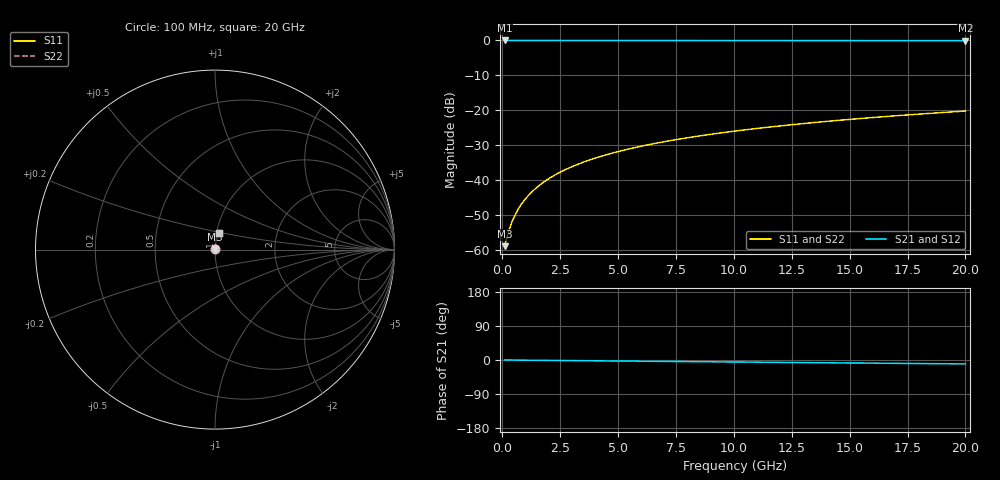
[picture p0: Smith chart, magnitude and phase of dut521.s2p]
! Touchstone file exported from HFSS 2026.1.0
!  File:  C:/ffzhzh/LocalFiles/Ansys_Project_Files/temp_train_BSMRDL_521_1783014560_4048.aedt
!  Generated:  01:50:42 AM Jul  3, 2026
!  Design:  BSMRDL
!  Project:  temp_train_BSMRDL_521_1783014560_4048
! Variables:
!  h_bsmrdl = 3.93um
!  h_ox = 20um
!  h_rdl = 5um
!  h_sub = 80um
!  h_tmrdl = 5um
!  h_tsv = 80um
!  h_via = 3um
!  l_bsmrdl = 135.3um
!  l_sub = 535.3um
!  l_tmrdl = 200um
!  m_sub = 200um
!  pitch = 31.45um
!  r_tsv = 6um
!  s_tmrdl = 10um
!  w_bsmrdl = 15.07um
!  w_sub = 500um
!  w_tmrdl = 12um
!  x_tsv_center1 = 206um
!  x_tsv_center2 = 356.37um
!  x_tsv_center3 = 568.37um
!  x_tsv_center4 = 718.74um
!  x_tsv_center5 = 930.74um
!  x_tsv_center6 = 1081.11um
# GHz S MA R 50.000000
! Terminal data exported
! Port[1] = BSM_RDL1_1_T1
! Port[2] = BSM_RDL1_1_T2
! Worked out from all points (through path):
!   200 points, 100 MHz to 20 GHz, reference 50 ohm
!   highest |S21| = -0.01 dB at 100 MHz (marker M1); lowest = -0.1 dB at 20 GHz (marker M2)
!   group delay of S21, straight-line fit = 1.44 ps
!   lowest |S11| = -58.9 dB at 100 MHz (marker M3), VSWR 1.00, Z = 50.1 + j0.0569 ohm
!   |S11| at or under -10 dB: start of sweep to end of sweep
!   |S22| runs from -58.9 to -20.2 dB; largest |S21 - S12| = 3.1e-15
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0.1  0.001131 30.1  0.999 -0.1  0.999 -0.1  0.001131 30.1
! Gamma 0 0 0 0
! Port Impedance 50 0 50 0
0.2  0.00151 47.9  0.999 -0.1  0.999 -0.1  0.00151 47.9
0.3  0.001961 57.6  0.999 -0.2  0.999 -0.2  0.001961 57.6
0.4  0.002433 63.4  0.9989 -0.2  0.9989 -0.2  0.002433 63.4
0.5  0.002913 67.4  0.9989 -0.3  0.9989 -0.3  0.002913 67.4
0.6  0.003399 70.3  0.9989 -0.3  0.9989 -0.3  0.003399 70.3
0.8  0.004382 74.2  0.9988 -0.4  0.9988 -0.4  0.004382 74.2
1  0.005378 76.7  0.9988 -0.5  0.9988 -0.5  0.005378 76.7
1.2  0.006382 78.4  0.9988 -0.6  0.9988 -0.6  0.006382 78.4
1.4  0.007392 79.7  0.9987 -0.8  0.9987 -0.8  0.007392 79.7
1.7  0.008913 80.9  0.9987 -0.9  0.9987 -0.9  0.008913 80.9
2.2  0.01146 82.2  0.9986 -1.2  0.9986 -1.2  0.01146 82.2
2.8  0.01451 82.9  0.9985 -1.5  0.9985 -1.5  0.01451 82.9
3.5  0.01805 83.3  0.9983 -1.9  0.9983 -1.9  0.01805 83.3
4.2  0.02158 83.4  0.9981 -2.2  0.9981 -2.2  0.02158 83.4
5  0.02559 83.3  0.9979 -2.7  0.9979 -2.7  0.02559 83.3
6.8  0.03451 82.8  0.9972 -3.6  0.9972 -3.6  0.03451 82.8
8.3  0.04185 82.2  0.9966 -4.4  0.9966 -4.4  0.04185 82.2
10.1  0.05057 81.5  0.9959 -5.3  0.9959 -5.3  0.05057 81.5
13.4  0.06637 80.1  0.9945 -7.0  0.9945 -7.0  0.06637 80.1
16.7  0.082 78.7  0.9929 -8.7  0.9929 -8.7  0.082 78.7
20  0.09745 77.2  0.9911 -10.4  0.9911 -10.4  0.09745 77.2
